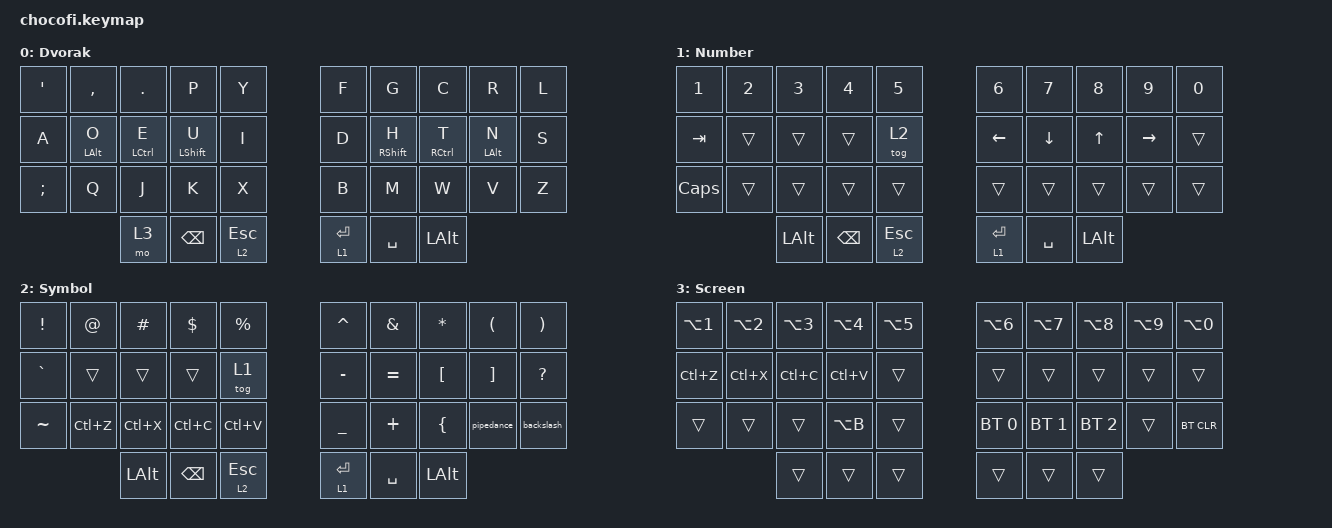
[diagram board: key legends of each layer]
/*
 * Copyright (c) 2020 The ZMK Contributors
 *
 * SPDX-License-Identifier: MIT
 */

#include <behaviors.dtsi>
#include <dt-bindings/zmk/bt.h>
#include <dt-bindings/zmk/keys.h>

/ {
    chosen {
        zmk,kscan = &kscan0;
        zmk,matrix-transform = &default_transform;
    };

    behaviors {
        hmr: hmr {
            compatible = "zmk,behavior-hold-tap";
            label = "HMR";
            bindings = <&kp>, <&kp>;

            #binding-cells = <2>;
            tapping-term-ms = <280>;
            quick-tap-ms = <175>;
            flavor = "balanced";
            hold-trigger-key-positions = <0 1 2 3 4 10 11 12 13 14 20 21 22 23 24 30 31 32 33 34 35>;
            hold-trigger-on-release;
        };

        hml: hml {
            compatible = "zmk,behavior-hold-tap";
            label = "HML";
            bindings = <&kp>, <&kp>;

            #binding-cells = <2>;
            tapping-term-ms = <280>;
            quick-tap-ms = <175>;
            flavor = "balanced";
            hold-trigger-on-release;
            hold-trigger-key-positions = <5 6 7 8 9 15 16 17 18 19 25 26 27 28 29 33 34 35 30 31 32>;
        };

        backslash: backslash {
            compatible = "zmk,behavior-tap-dance";
            label = "BACKSLASH";
            #binding-cells = <0>;
            tapping-term-ms = <200>;
            bindings = <&kp SLASH>, <&kp BACKSLASH>;
        };

        pipedance: pipedance {
            compatible = "zmk,behavior-tap-dance";
            label = "PIPEDANCE";
            #binding-cells = <0>;
            bindings = <&kp RIGHT_BRACE>, <&kp PIPE>;
        };
    };

    keymap {
        compatible = "zmk,keymap";

        default_layer {
            label = "Dvorak";

            // -----------------------------------------------------------------------------------------
            // |  TAB |  Q  |  W  |  E  |  R  |  T  |   |  Y  |  U   |  I  |  O  |  P  | BSPC |
            // | CTRL |  A  |  S  |  D  |  F  |  G  |   |  H  |  J   |  K  |  L  |  ;  |  '   |
            // | SHFT |  Z  |  X  |  C  |  V  |  B  |   |  N  |  M   |  ,  |  .  |  /  | ESC  |
            //                    | GUI | LWR | SPC |   | ENT | RSE  | ALT |

            bindings = <
&kp SQT   &kp COMMA        &kp PERIOD           &kp P              &kp Y      &kp F      &kp G               &kp C                 &kp R            &kp L
&kp A     &hml LEFT_ALT O  &hml LEFT_CONTROL E  &hml LEFT_SHIFT U  &kp I      &kp D      &hmr RIGHT_SHIFT H  &hmr RIGHT_CONTROL T  &hmr LEFT_ALT N  &kp S
&kp SEMI  &kp Q            &kp J                &kp K              &kp X      &kp B      &kp M               &kp W                 &kp V            &kp Z
                           &mo 3                &kp BACKSPACE      &lt 2 ESC  &lt 1 RET  &kp SPACE           &kp LEFT_ALT
            >;
        };

        lower_layer {
            label = "Number";

            // -----------------------------------------------------------------------------------------
            // |  TAB |  1  |  2  |  3  |  4  |  5  |   |  6  |  7  |  8  |  9  |  0  | BSPC |
            // | BTCLR| BT1 | BT2 | BT3 | BT4 | BT5 |   | LFT | DWN |  UP | RGT |     |      |
            // | SHFT |     |     |     |     |     |   |     |     |     |     |     |      |
            //                    | GUI |     | SPC |   | ENT |     | ALT |

            bindings = <
&kp N1        &kp N2  &kp N3        &kp N4         &kp N5     &kp N6       &kp N7     &kp N8        &kp N9     &kp N0
&kp TAB       &trans  &trans        &trans         &tog 2     &kp LEFT     &kp DOWN   &kp UP        &kp RIGHT  &trans
&kp CAPSLOCK  &trans  &trans        &trans         &trans     &trans       &trans     &trans        &trans     &trans
                      &kp LEFT_ALT  &kp BACKSPACE  &lt 2 ESC  &lt 1 ENTER  &kp SPACE  &kp LEFT_ALT
            >;
        };

        raise_layer {
            label = "Symbol";

            // -----------------------------------------------------------------------------------------
            // |  TAB |  !  |  @  |  #  |  $  |  %  |   |  ^  |  &  |  *  |  (  |  )  | BSPC |
            // | CTRL |     |     |     |     |     |   |  -  |  =  |  [  |  ]  |  \  |  `   |
            // | SHFT |     |     |     |     |     |   |  _  |  +  |  {  |  }  | "|" |  ~   |
            //                    | GUI |     | SPC |   | ENT |     | ALT |

            bindings = <
&kp EXCL   &kp AT     &kp HASH      &kp DLLR       &kp PRCNT  &kp CARET    &kp AMPS   &kp ASTRK     &kp LPAR    &kp RPAR
&kp GRAVE  &trans     &trans        &trans         &tog 1     &kp MINUS    &kp EQUAL  &kp LBKT      &kp RBKT    &kp QUESTION
&kp TILDE  &kp LC(Z)  &kp LC(X)     &kp LC(C)      &kp LC(V)  &kp UNDER    &kp PLUS   &kp LBRC      &pipedance  &backslash
                      &kp LEFT_ALT  &kp BACKSPACE  &lt 2 ESC  &lt 1 ENTER  &kp SPACE  &kp LEFT_ALT
            >;
        };

        screen_control {
            label = "Screen";
            bindings = <
&kp LA(N1)  &kp LA(N2)  &kp LA(N3)  &kp LA(N4)  &kp LA(N5)  &kp LA(NUMBER_6)  &kp LA(N7)    &kp LA(N8)    &kp LA(N9)  &kp LA(N0)
&kp LC(Z)   &kp LC(X)   &kp LC(C)   &kp LC(V)   &trans      &trans            &trans        &trans        &trans      &trans
&trans      &trans      &trans      &kp LA(B)   &trans      &bt BT_SEL 0      &bt BT_SEL 1  &bt BT_SEL 2  &trans      &bt BT_CLR
                        &trans      &trans      &trans      &trans            &trans        &trans
            >;
        };
    };

    soft_off_wakers {
        compatible = "zmk,soft-off-wakeup-sources";
        wakeup-sources = <&kscan0>;
    };
};
